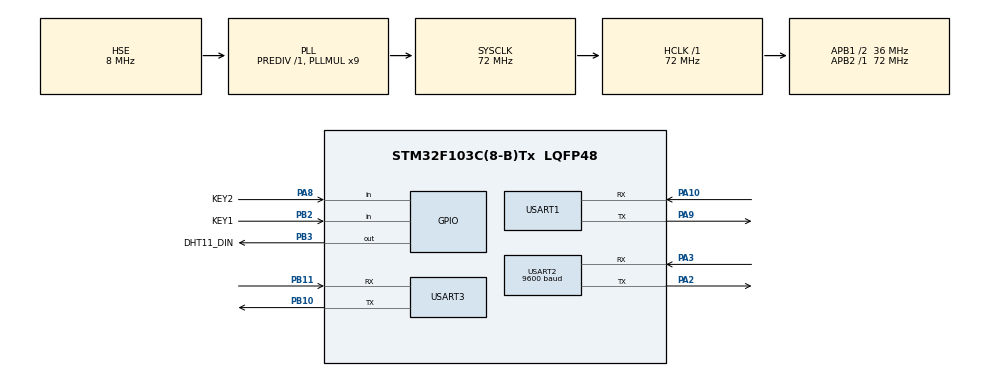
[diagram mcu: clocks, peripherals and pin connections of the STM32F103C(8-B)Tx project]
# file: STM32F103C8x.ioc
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Mcu.Family=STM32F1
Mcu.Name=STM32F103C(8-B)Tx
Mcu.Package=LQFP48
NVIC.PriorityGroup=NVIC_PRIORITYGROUP_2
NVIC.TIM2_IRQn=true\:1\:0\:true\:true\:true\:1\:true\:true
NVIC.USART2_IRQn=true\:0\:0\:false\:true\:true\:2\:true\:true
NVIC.USART3_IRQn=true\:0\:1\:true\:true\:true\:3\:true\:true
PA10.Mode=Asynchronous
PA10.Signal=USART1_RX
PA13.Mode=Serial_Wire
PA13.Signal=SYS_JTMS-SWDIO
PA14.Mode=Serial_Wire
PA14.Signal=SYS_JTCK-SWCLK
PA2.Mode=Asynchronous
PA2.Signal=USART2_TX
PA3.Mode=Asynchronous
PA3.Signal=USART2_RX
PA8.GPIO_Label=KEY2
PA8.GPIO_Mode=GPIO_MODE_INPUT
PA8.GPIO_PuPd=GPIO_NOPULL
PA8.Signal=GPIO_Input
PA9.Mode=Asynchronous
PA9.Signal=USART1_TX
PB10.Mode=Asynchronous
PB10.Signal=USART3_TX
PB11.Mode=Asynchronous
PB11.Signal=USART3_RX
PB2.GPIO_Label=KEY1
PB2.GPIO_Mode=GPIO_MODE_INPUT
PB2.GPIO_PuPd=GPIO_NOPULL
PB2.Signal=GPIO_Input
PB3.GPIO_Label=DHT11_DIN
PB3.GPIO_ModeDefaultOutputPP=GPIO_MODE_OUTPUT_PP
PB3.GPIO_Speed=GPIO_SPEED_FREQ_HIGH
PB3.PinState=GPIO_PIN_RESET
PB3.Signal=GPIO_Output
PD0-OSC_IN.Mode=HSE-External-Oscillator
PD0-OSC_IN.Signal=RCC_OSC_IN
PD1-OSC_OUT.Mode=HSE-External-Oscillator
PD1-OSC_OUT.Signal=RCC_OSC_OUT
ProjectManager.HeapSize=0x800
ProjectManager.StackSize=0x2000
ProjectManager.TargetToolchain=MDK-ARM V5
RCC.AHBFreq_Value=72000000
RCC.APB1CLKDivider=RCC_HCLK_DIV2
RCC.APB1Freq_Value=36000000
RCC.APB1TimFreq_Value=72000000
RCC.APB2Freq_Value=72000000
RCC.APB2TimFreq_Value=72000000
RCC.HCLKFreq_Value=72000000
RCC.PLLMUL=RCC_PLL_MUL9
RCC.PLLSourceVirtual=RCC_PLLSOURCE_HSE
RCC.SYSCLKFreq_VALUE=72000000
RCC.SYSCLKSource=RCC_SYSCLKSOURCE_PLLCLK
RCC.USBFreq_Value=72000000
TIM2.Period=10-1
TIM2.Prescaler=7200-1
USART1.VirtualMode=VM_ASYNC
USART2.BaudRate=9600
USART2.VirtualMode=VM_ASYNC
USART3.VirtualMode=VM_ASYNC
VP_TIM2_VS_ClockSourceINT.Mode=Internal
board=STM32F103C8x

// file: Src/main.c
/**
  ******************************************************************************
  * File Name          : main.c
  * Description        : Main program body
  ******************************************************************************
  ** This notice applies to any and all portions of this file
  * that are not between comment pairs USER CODE BEGIN and
  * USER CODE END. Other portions of this file, whether
  * inserted by the user or by software development tools
  * are owned by their respective copyright owners.
  *
  * COPYRIGHT(c) 2019 STMicroelectronics
  *
  * Redistribution and use in source and binary forms, with or without modification,
  * are permitted provided that the following conditions are met:
  *   1. Redistributions of source code must retain the above copyright notice,
  *      this list of conditions and the following disclaimer.
  *   2. Redistributions in binary form must reproduce the above copyright notice,
  *      this list of conditions and the following disclaimer in the documentation
  *      and/or other materials provided with the distribution.
  *   3. Neither the name of STMicroelectronics nor the names of its contributors
  *      may be used to endorse or promote products derived from this software
  *      without specific prior written permission.
  *
  * THIS SOFTWARE IS PROVIDED BY THE COPYRIGHT HOLDERS AND CONTRIBUTORS "AS IS"
  * AND ANY EXPRESS OR IMPLIED WARRANTIES, INCLUDING, BUT NOT LIMITED TO, THE
  * IMPLIED WARRANTIES OF MERCHANTABILITY AND FITNESS FOR A PARTICULAR PURPOSE ARE
  * DISCLAIMED. IN NO EVENT SHALL THE COPYRIGHT HOLDER OR CONTRIBUTORS BE LIABLE
  * FOR ANY DIRECT, INDIRECT, INCIDENTAL, SPECIAL, EXEMPLARY, OR CONSEQUENTIAL
  * DAMAGES (INCLUDING, BUT NOT LIMITED TO, PROCUREMENT OF SUBSTITUTE GOODS OR
  * SERVICES; LOSS OF USE, DATA, OR PROFITS; OR BUSINESS INTERRUPTION) HOWEVER
  * CAUSED AND ON ANY THEORY OF LIABILITY, WHETHER IN CONTRACT, STRICT LIABILITY,
  * OR TORT (INCLUDING NEGLIGENCE OR OTHERWISE) ARISING IN ANY WAY OUT OF THE USE
  * OF THIS SOFTWARE, EVEN IF ADVISED OF THE POSSIBILITY OF SUCH DAMAGE.
  *
  ******************************************************************************
  */
#include "main.h"
#include "stm32f1xx_hal.h"

/* USER CODE BEGIN Includes */
#include "hal_key.h"
#include "gizwits_product.h"
#include "common.h"
/* USER CODE END Includes */

TIM_HandleTypeDef htim2;

UART_HandleTypeDef huart1;
UART_HandleTypeDef huart2;
UART_HandleTypeDef huart3;

/* USER CODE BEGIN PV */
/* Private variables ---------------------------------------------------------*/
#define GPIO_KEY_NUM 2 ///< Defines the total number of key member
keyTypedef_t singleKey[GPIO_KEY_NUM]; ///< Defines a single key member array pointer
keysTypedef_t keys;
/* USER CODE END PV */

void SystemClock_Config(void);
static void MX_GPIO_Init(void);
static void MX_TIM2_Init(void);
static void MX_USART2_UART_Init(void);
static void MX_USART1_UART_Init(void);
static void MX_USART3_UART_Init(void);
static void MX_NVIC_Init(void);

/* USER CODE BEGIN PFP */
/* Private function prototypes -----------------------------------------------*/

/* USER CODE END PFP */

/* USER CODE BEGIN 0 */
/**
* key1 short press handle
* @param none
* @return none
*/
void key1ShortPress(void)
{
    GIZWITS_LOG("KEY1 PRESS ,Production Mode\n");
    gizwitsSetMode(WIFI_PRODUCTION_TEST);
}

/**
* key1 long press handle
* @param none
* @return none
*/
void key1LongPress(void)
{
    GIZWITS_LOG("KEY1 PRESS LONG ,Wifi Reset\n");
    gizwitsSetMode(WIFI_RESET_MODE);

}

/**
* key2 short press handle
* @param none
* @return none
*/
void key2ShortPress(void)
{
    GIZWITS_LOG("KEY2 PRESS ,Soft AP mode\n");
#if !MODULE_TYPE
    gizwitsSetMode(WIFI_SOFTAP_MODE);
#endif
}

/**
* key2 long press handle
* @param none
* @return none
*/
void key2LongPress(void)
{
    //AirLink mode
    GIZWITS_LOG("KEY2 PRESS LONG ,AirLink mode\n");
#if !MODULE_TYPE
    gizwitsSetMode(WIFI_AIRLINK_MODE);
#endif
}

/**
* Key init function
* @param none
* @return none
*/
void keyInit(void)
{
    singleKey[0] = keyInitOne(NULL, KEY1_GPIO_Port, KEY1_Pin, key1ShortPress, key1LongPress);
    singleKey[1] = keyInitOne(NULL, KEY2_GPIO_Port, KEY2_Pin, key2ShortPress, key2LongPress);
    keys.singleKey = (keyTypedef_t *)&singleKey;
    keyParaInit(&keys);
}
/* USER CODE END 0 */

int main(void)
{

    /* MCU Configuration----------------------------------------------------------*/

    /* Reset of all peripherals, Initializes the Flash interface and the Systick. */
    HAL_Init();

    /* Configure the system clock */
    SystemClock_Config();

    /* Initialize all configured peripherals */
    MX_GPIO_Init();
    MX_TIM2_Init();
    MX_USART2_UART_Init();
    MX_USART1_UART_Init();
    MX_USART3_UART_Init();

    /* Initialize interrupts */
    MX_NVIC_Init();

    /* USER CODE BEGIN 2 */
    timerInit();
    uartInit();

    userInit();
    gizwitsInit();
    keyInit();
    GIZWITS_LOG("MCU Init Success \n");
    /* USER CODE END 2 */

    /* Infinite loop */
    while (1)
    {

        /* USER CODE BEGIN 3 */
//	HAL_UART_Transmit(&huart3,&Zigbee_data,1,10);
        userHandle();
        gizwitsHandle((dataPoint_t *)&currentDataPoint);
    }
    /* USER CODE END 3 */

}

/** System Clock Configuration
*/
void SystemClock_Config(void)
{

    RCC_OscInitTypeDef RCC_OscInitStruct;
    RCC_ClkInitTypeDef RCC_ClkInitStruct;

    /**Initializes the CPU, AHB and APB busses clocks
    */
    RCC_OscInitStruct.OscillatorType = RCC_OSCILLATORTYPE_HSE;
    RCC_OscInitStruct.HSEState = RCC_HSE_ON;
    RCC_OscInitStruct.HSEPredivValue = RCC_HSE_PREDIV_DIV1;
    RCC_OscInitStruct.HSIState = RCC_HSI_ON;
    RCC_OscInitStruct.PLL.PLLState = RCC_PLL_ON;
    RCC_OscInitStruct.PLL.PLLSource = RCC_PLLSOURCE_HSE;
    RCC_OscInitStruct.PLL.PLLMUL = RCC_PLL_MUL9;
    if (HAL_RCC_OscConfig(&RCC_OscInitStruct) != HAL_OK)
    {
        _Error_Handler(__FILE__, __LINE__);
    }

    /**Initializes the CPU, AHB and APB busses clocks
    */
    RCC_ClkInitStruct.ClockType = RCC_CLOCKTYPE_HCLK | RCC_CLOCKTYPE_SYSCLK
                                  | RCC_CLOCKTYPE_PCLK1 | RCC_CLOCKTYPE_PCLK2;
    RCC_ClkInitStruct.SYSCLKSource = RCC_SYSCLKSOURCE_PLLCLK;
    RCC_ClkInitStruct.AHBCLKDivider = RCC_SYSCLK_DIV1;
    RCC_ClkInitStruct.APB1CLKDivider = RCC_HCLK_DIV2;
    RCC_ClkInitStruct.APB2CLKDivider = RCC_HCLK_DIV1;

    if (HAL_RCC_ClockConfig(&RCC_ClkInitStruct, FLASH_LATENCY_2) != HAL_OK)
    {
        _Error_Handler(__FILE__, __LINE__);
    }

    /**Configure the Systick interrupt time
    */
    HAL_SYSTICK_Config(HAL_RCC_GetHCLKFreq() / 1000);

    /**Configure the Systick
    */
    HAL_SYSTICK_CLKSourceConfig(SYSTICK_CLKSOURCE_HCLK);

    /* SysTick_IRQn interrupt configuration */
    HAL_NVIC_SetPriority(SysTick_IRQn, 0, 0);
}

/** NVIC Configuration
*/
static void MX_NVIC_Init(void)
{
    /* TIM2_IRQn interrupt configuration */
    HAL_NVIC_SetPriority(TIM2_IRQn, 1, 0);
    HAL_NVIC_EnableIRQ(TIM2_IRQn);
    /* USART2_IRQn interrupt configuration */
    HAL_NVIC_SetPriority(USART2_IRQn, 0, 0);
    HAL_NVIC_EnableIRQ(USART2_IRQn);
    /* USART3_IRQn interrupt configuration */
    HAL_NVIC_SetPriority(USART3_IRQn, 0, 1);
    HAL_NVIC_EnableIRQ(USART3_IRQn);
}

/* TIM2 init function */
static void MX_TIM2_Init(void)
{

    TIM_ClockConfigTypeDef sClockSourceConfig;
    TIM_MasterConfigTypeDef sMasterConfig;

    htim2.Instance = TIM2;
    htim2.Init.Prescaler = 7200 - 1;
    htim2.Init.CounterMode = TIM_COUNTERMODE_UP;
    htim2.Init.Period = 10 - 1;
    htim2.Init.ClockDivision = TIM_CLOCKDIVISION_DIV1;
    htim2.Init.AutoReloadPreload = TIM_AUTORELOAD_PRELOAD_DISABLE;
    if (HAL_TIM_Base_Init(&htim2) != HAL_OK)
    {
        _Error_Handler(__FILE__, __LINE__);
    }

    sClockSourceConfig.ClockSource = TIM_CLOCKSOURCE_INTERNAL;
    if (HAL_TIM_ConfigClockSource(&htim2, &sClockSourceConfig) != HAL_OK)
    {
        _Error_Handler(__FILE__, __LINE__);
    }

    sMasterConfig.MasterOutputTrigger = TIM_TRGO_RESET;
    sMasterConfig.MasterSlaveMode = TIM_MASTERSLAVEMODE_DISABLE;
    if (HAL_TIMEx_MasterConfigSynchronization(&htim2, &sMasterConfig) != HAL_OK)
    {
        _Error_Handler(__FILE__, __LINE__);
    }

}

/* USART1 init function */
static void MX_USART1_UART_Init(void)
{

    huart1.Instance = USART1;
    huart1.Init.BaudRate = 115200;
    huart1.Init.WordLength = UART_WORDLENGTH_8B;
    huart1.Init.StopBits = UART_STOPBITS_1;
    huart1.Init.Parity = UART_PARITY_NONE;
    huart1.Init.Mode = UART_MODE_TX_RX;
    huart1.Init.HwFlowCtl = UART_HWCONTROL_NONE;
    huart1.Init.OverSampling = UART_OVERSAMPLING_16;
    if (HAL_UART_Init(&huart1) != HAL_OK)
    {
        _Error_Handler(__FILE__, __LINE__);
    }

}

/* USART2 init function */
static void MX_USART2_UART_Init(void)
{

    huart2.Instance = USART2;
    huart2.Init.BaudRate = 9600;
    huart2.Init.WordLength = UART_WORDLENGTH_8B;
    huart2.Init.StopBits = UART_STOPBITS_1;
    huart2.Init.Parity = UART_PARITY_NONE;
    huart2.Init.Mode = UART_MODE_TX_RX;
    huart2.Init.HwFlowCtl = UART_HWCONTROL_NONE;
    huart2.Init.OverSampling = UART_OVERSAMPLING_16;
    if (HAL_UART_Init(&huart2) != HAL_OK)
    {
        _Error_Handler(__FILE__, __LINE__);
    }

}

/* USART3 init function */
static void MX_USART3_UART_Init(void)
{

    huart3.Instance = USART3;
    huart3.Init.BaudRate = 115200;
    huart3.Init.WordLength = UART_WORDLENGTH_8B;
    huart3.Init.StopBits = UART_STOPBITS_1;
    huart3.Init.Parity = UART_PARITY_NONE;
    huart3.Init.Mode = UART_MODE_TX_RX;
    huart3.Init.HwFlowCtl = UART_HWCONTROL_NONE;
    huart3.Init.OverSampling = UART_OVERSAMPLING_16;
    if (HAL_UART_Init(&huart3) != HAL_OK)
    {
        _Error_Handler(__FILE__, __LINE__);
    }

}

/** Configure pins as
        * Analog
        * Input
        * Output
        * EVENT_OUT
        * EXTI
*/
static void MX_GPIO_Init(void)
{

    GPIO_InitTypeDef GPIO_InitStruct;

    /* GPIO Ports Clock Enable */
    __HAL_RCC_GPIOD_CLK_ENABLE();
    __HAL_RCC_GPIOA_CLK_ENABLE();
    __HAL_RCC_GPIOB_CLK_ENABLE();

    /*Configure GPIO pin Output Level */
    HAL_GPIO_WritePin(DHT11_DIN_GPIO_Port, DHT11_DIN_Pin, GPIO_PIN_RESET);

    /*Configure GPIO pin : KEY1_Pin */
    GPIO_InitStruct.Pin = KEY1_Pin;
    GPIO_InitStruct.Mode = GPIO_MODE_INPUT;
    GPIO_InitStruct.Pull = GPIO_NOPULL;
    HAL_GPIO_Init(KEY1_GPIO_Port, &GPIO_InitStruct);

    /*Configure GPIO pin : KEY2_Pin */
    GPIO_InitStruct.Pin = KEY2_Pin;
    GPIO_InitStruct.Mode = GPIO_MODE_INPUT;
    GPIO_InitStruct.Pull = GPIO_NOPULL;
    HAL_GPIO_Init(KEY2_GPIO_Port, &GPIO_InitStruct);

    /*Configure GPIO pin : DHT11_DIN_Pin */
    GPIO_InitStruct.Pin = DHT11_DIN_Pin;
    GPIO_InitStruct.Mode = GPIO_MODE_OUTPUT_PP;
    GPIO_InitStruct.Speed = GPIO_SPEED_FREQ_HIGH;
    HAL_GPIO_Init(DHT11_DIN_GPIO_Port, &GPIO_InitStruct);

}

void _Error_Handler(char * file, int line)
{
    while(1)
    {
    }
}

/************************ (C) COPYRIGHT STMicroelectronics *****END OF FILE****/
